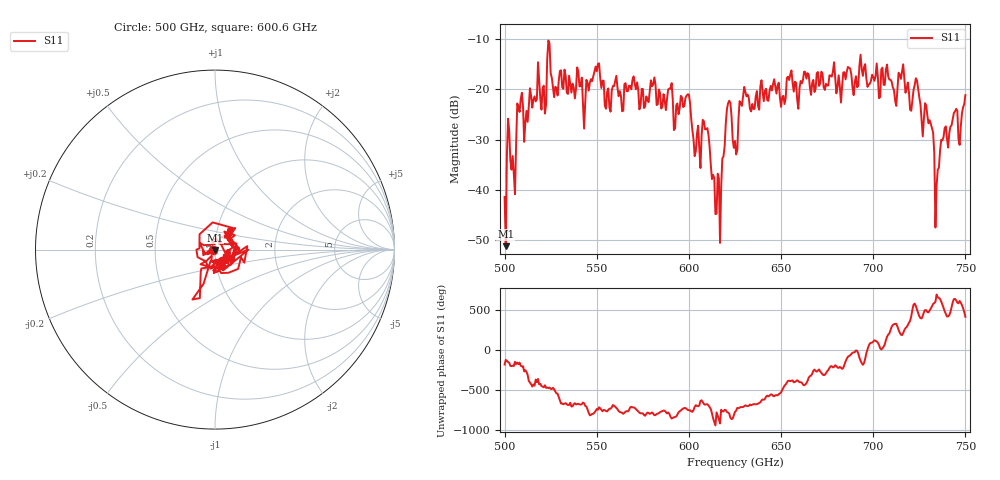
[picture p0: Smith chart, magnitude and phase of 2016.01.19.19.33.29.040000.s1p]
!Created with skrf (http://scikit-rf.org).
# GHz S RI R 50.0
!freq ReS11 ImS11
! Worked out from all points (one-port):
!   401 points, 500 GHz to 750 GHz, reference 50 ohm
!   lowest |S11| = -51.1 dB at 500.6 GHz (marker M1), VSWR 1.01, Z = 49.9 - j0.235 ohm
!   |S11| at or under -10 dB: start of sweep to end of sweep
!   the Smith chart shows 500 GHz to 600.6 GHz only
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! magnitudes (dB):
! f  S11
! 500 GHz  -41.4
! 500.6 GHz  -51.1
! 502.5 GHz  -28.2
! 505 GHz  -36.8
! 508.1 GHz  -24.5
! 521.2 GHz  -19.3
! 524.4 GHz  -11.0
! 527.5 GHz  -19.5
! 531.2 GHz  -19.6
! 543.8 GHz  -22.5
! 550 GHz  -16.4
! 562.5 GHz  -20.4
! 580.6 GHz  -19.1
! 593.8 GHz  -22.8
! 599.4 GHz  -21.0
! 605 GHz  -27.2
! 608.8 GHz  -27.9
! 615.6 GHz  -36.8
! 621.2 GHz  -22.8
! 625 GHz  -30.2
! 630.6 GHz  -20.5
! 656.2 GHz  -18.7
! 687.5 GHz  -15.9
! 718.8 GHz  -18.7
! 729.4 GHz  -25.2
! 734.4 GHz  -39.2
! 738.1 GHz  -29.5
! 750 GHz  -21.2
